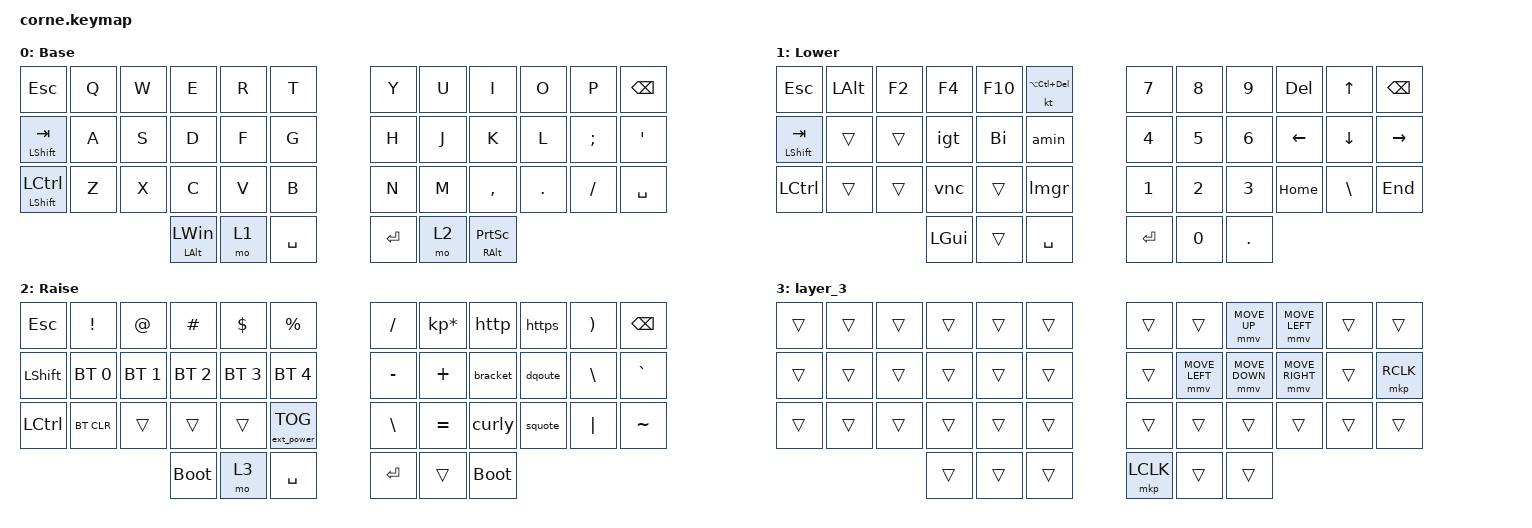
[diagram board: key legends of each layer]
/*
 * Copyright (c) 2020 The ZMK Contributors
 *
 * SPDX-License-Identifier: MIT
 */

#include <behaviors.dtsi>
#include <dt-bindings/zmk/bt.h>
#include <dt-bindings/zmk/ext_power.h>
#include <dt-bindings/zmk/keys.h>
#include <dt-bindings/zmk/pointing.h>

/ {
    macros {
        amin: amin {
            compatible = "zmk,behavior-macro";
            #binding-cells = <0>;
            bindings = <&kp LS(T) &kp EXCL &kp N4 &kp N7 &kp M &kp C &kp M &kp S &kp AT &kp D &kp M &kp I &kp N &kp ENTER>;
            label = "AMIN";
        };

        Bi: Bi {
            compatible = "zmk,behavior-macro";
            #binding-cells = <0>;
            bindings = <&kp LS(B) &kp I &kp LS(B) &kp I &kp LS(O) &kp N2 &kp N2 &kp N1 &kp N0 &kp RET>;
            label = "BI";
        };

        bracket: bracket {
            compatible = "zmk,behavior-macro";
            #binding-cells = <0>;
            bindings = <&kp LPAR &kp RPAR &kp LEFT>;
            label = "BRACKET";
        };

        igt: igt {
            compatible = "zmk,behavior-macro";
            #binding-cells = <0>;
            bindings = <&kp LS(T) &kp EXCL &kp N1 &kp G &kp T &kp W &kp I &kp N &kp A &kp C &kp C &kp NUMBER_2 &kp RET>;
            label = "IGT";
        };

        curly: curly {
            compatible = "zmk,behavior-macro";
            #binding-cells = <0>;
            bindings = <&kp LEFT_BRACE &kp RBRC &kp LEFT_ARROW>;
            label = "CURLY";
        };

        dqoute: dqoute {
            compatible = "zmk,behavior-macro";
            #binding-cells = <0>;
            bindings = <&kp DOUBLE_QUOTES &kp DOUBLE_QUOTES &kp LEFT>;
            label = "DQOUTE";
        };

        squote: squote {
            compatible = "zmk,behavior-macro";
            #binding-cells = <0>;
            bindings = <&kp SQT &kp SQT &kp LEFT>;
            label = "SQUOTE";
        };

        lmgr: lmgr {
            compatible = "zmk,behavior-macro";
            #binding-cells = <0>;
            bindings = <&kp LS(T) &kp EXCL &kp N4 &kp N7 &kp M &kp C &kp L &kp M &kp G &kp R &kp RET>;
            label = "LMGR";
        };

        http: http {
            compatible = "zmk,behavior-macro";
            #binding-cells = <0>;
            bindings = <&kp H &kp T &kp T &kp P &kp COLON &kp FSLH &kp FSLH>;
            label = "HTTP";
        };

        https: https {
            compatible = "zmk,behavior-macro";
            #binding-cells = <0>;
            bindings = <&kp H &kp T &kp T &kp P &kp S &kp COLON &kp FSLH &kp FSLH>;
            label = "HTTPS";
        };

        vnc: vnc {
            compatible = "zmk,behavior-macro";
            #binding-cells = <0>;
            bindings = <&kp C &kp O &kp S &kp M &kp O &kp V &kp N &kp C &kp RET>;
            label = "VNC";
        };
    };

    combos {
        compatible = "zmk,combos";

        altab {
            bindings = <&kp LA(TAB)>;
            key-positions = <12 36>;
        };
    };

    behaviors {
        Taptab: Taptab {
            compatible = "zmk,behavior-tap-dance";
            label = "TAPTAB";
            #binding-cells = <0>;
            bindings = <&kp TAB>, <&kp LS(TAB)>, <&kp LA(TAB)>;
        };
    };

    keymap {
        compatible = "zmk,keymap";

        default_layer {
            // -----------------------------------------------------------------------------------------
            // |  TAB |  Q  |  W  |  E  |  R  |  T  |   |  Y  |  U   |  I  |  O  |  P  | BKSP |
            // | CTRL |  A  |  S  |  D  |  F  |  G  |   |  H  |  J   |  K  |  L  |  ;  |  '   |
            // | SHFT |  Z  |  X  |  C  |  V  |  B  |   |  N  |  M   |  ,  |  .  |  /  | ESC  |
            //                    | GUI | LWR | SPC |   | ENT | RSE  | ALT |

            display-name = "Base";
            bindings = <
&kp ESCAPE            &kp Q  &kp W  &kp E                  &kp R  &kp T        &kp Y      &kp U  &kp I                &kp O    &kp P      &kp BSPC
&mt LEFT_SHIFT TAB    &kp A  &kp S  &kp D                  &kp F  &kp G        &kp H      &kp J  &kp K                &kp L    &kp SEMI   &kp SINGLE_QUOTE
&mt LEFT_SHIFT LCTRL  &kp Z  &kp X  &kp C                  &kp V  &kp B        &kp N      &kp M  &kp COMMA            &kp DOT  &kp SLASH  &kp SPACE
                                    &mt LEFT_ALT LEFT_WIN  &mo 1  &kp SPACE    &kp ENTER  &mo 2  &mt RIGHT_ALT PSCRN
            >;
        };

        lower_layer {
            // -----------------------------------------------------------------------------------------
            // |  TAB |  1  |  2  |  3  |  4  |  5  |   |  6  |  7  |  8  |  9  |  0  | BKSP |
            // | BTCLR| BT1 | BT2 | BT3 | BT4 | BT5 |   | LFT | DWN |  UP | RGT |     |      |
            // | SHFT |     |     |     |     |     |   |     |     |     |     |     |      |
            //                    | GUI |     | SPC |   | ENT |     | ALT |

            display-name = "Lower";
            bindings = <
&kp ESC             &kp LALT  &kp F2  &kp F4    &kp F10  &kt LA(LC(DEL))    &kp NUMBER_7  &kp N8        &kp N9        &kp DELETE  &kp UP_ARROW   &kp BACKSPACE
&mt LEFT_SHIFT TAB  &trans    &trans  &igt      &Bi      &amin              &kp NUMBER_4  &kp N5        &kp NUMBER_6  &kp LEFT    &kp DOWN       &kp RIGHT_ARROW
&kp LCTRL           &trans    &trans  &vnc      &trans   &lmgr              &kp NUMBER_1  &kp NUMBER_2  &kp NUMBER_3  &kp HOME    &kp BACKSLASH  &kp END
                                      &kp LGUI  &trans   &kp SPACE          &kp RET       &kp N0        &kp DOT
            >;
        };

        raise_layer {
            // -----------------------------------------------------------------------------------------
            // |  TAB |  !  |  @  |  #  |  $  |  %  |   |  ^  |  &  |  *  |  (  |  )  | BKSP |
            // | CTRL |     |     |     |     |     |   |  -  |  =  |  [  |  ]  |  \  |  `   |
            // | SHFT |     |     |     |     |     |   |  _  |  +  |  {  |  }  | "|" |  ~   |
            //                    | GUI |     | SPC |   | ENT |     | ALT |

            display-name = "Raise";
            bindings = <
&kp ESC         &kp EXCL      &kp AT        &kp HASH      &kp DLLR      &kp PRCNT            &kp FSLH       &kp KP_MULTIPLY  &http        &https   &kp RPAR  &kp BSPC
&kp LEFT_SHIFT  &bt BT_SEL 0  &bt BT_SEL 1  &bt BT_SEL 2  &bt BT_SEL 3  &bt BT_SEL 4         &kp MINUS      &kp PLUS         &bracket     &dqoute  &kp BSLH  &kp GRAVE
&kp LCTRL       &bt BT_CLR    &trans        &trans        &trans        &ext_power EP_TOG    &kp BACKSLASH  &kp EQUAL        &curly       &squote  &kp PIPE  &kp TILDE
                                            &bootloader   &mo 3         &kp SPACE            &kp RET        &trans           &bootloader
            >;
        };

        layer_3 {
            bindings = <
&trans  &trans  &trans  &trans  &trans  &trans    &trans     &trans          &mmv MOVE_UP    &mmv MOVE_LEFT   &trans  &trans
&trans  &trans  &trans  &trans  &trans  &trans    &trans     &mmv MOVE_LEFT  &mmv MOVE_DOWN  &mmv MOVE_RIGHT  &trans  &mkp RCLK
&trans  &trans  &trans  &trans  &trans  &trans    &trans     &trans          &trans          &trans           &trans  &trans
                        &trans  &trans  &trans    &mkp LCLK  &trans          &trans
            >;
        };
    };
};
